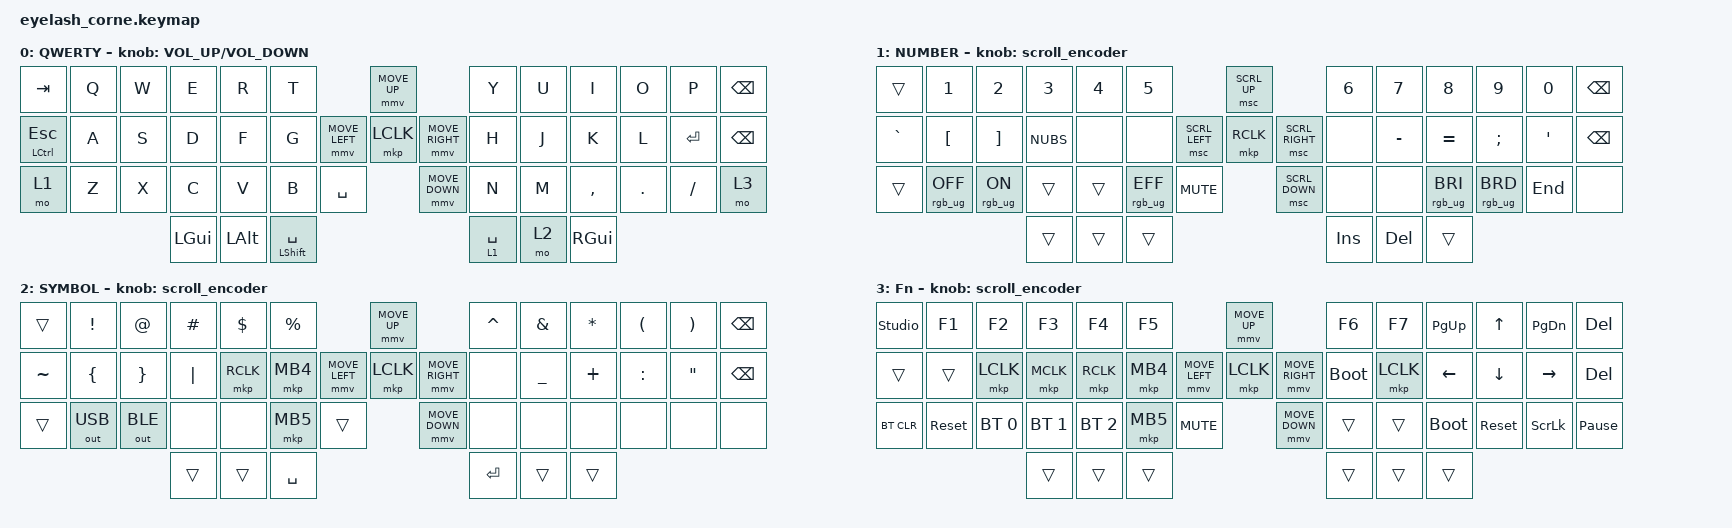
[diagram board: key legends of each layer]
#include <behaviors.dtsi>
#include <dt-bindings/zmk/bt.h>
#include <dt-bindings/zmk/keys.h>
#include <dt-bindings/zmk/mouse.h>
#include <dt-bindings/zmk/outputs.h>
#include <dt-bindings/zmk/rgb.h>

#include <input/processors.dtsi>

/*

   &mmv_input_listener {
       input-processors = <&zip_xy_scaler 2 1>;
   };

   &msc_input_listener {
       input-processors = <&zip_xy_scaler 2 1>;
   };

 */

#define ZMK_MOUSE_DEFAULT_MOVE_VAL 1200  // 600
#define ZMK_MOUSE_DEFAULT_SCRL_VAL 20    // 10

/ {
    behaviors {
        td0: td0 {
            compatible = "zmk,behavior-tap-dance";
            display-name = "Shift/Caps Lock Tap Dance";
            #binding-cells = <0>;
            bindings = <&kp LEFT_SHIFT>, <&kp CAPS>;
        };
    };

    rgb_encoder: rgb_encoder {
        compatible = "zmk,behavior-sensor-rotate";
        #sensor-binding-cells = <0>;
        bindings = <&rgb_ug RGB_BRI>, <&rgb_ug RGB_BRD>;
    };

    scroll_encoder: scroll_encoder {
        compatible = "zmk,behavior-sensor-rotate";
        #sensor-binding-cells = <0>;
        bindings = <&msc SCRL_DOWN>, <&msc SCRL_UP>;
        tap-ms = <30>;
    };

    keymap {
        compatible = "zmk,keymap";

        default_layer {
            display-name = "QWERTY";
            bindings = <
&kp TAB           &kp Q  &kp W      &kp E     &kp R  &kp T                              &mmv MOVE_UP                      &kp Y        &kp U  &kp I      &kp O    &kp P     &kp BSPC
&mt LCTRL ESC     &kp A  &kp S      &kp D     &kp F  &kp G                    &mmv MOVE_LEFT  &mkp LCLK   &mmv MOVE_RIGHT  &kp H        &kp J  &kp K      &kp L    &kp ENTER  &kp BSPC
&mo 1             &kp Z  &kp X      &kp C     &kp V  &kp B       &kp SPACE              &mmv MOVE_DOWN                    &kp N        &kp M  &kp COMMA  &kp DOT  &kp FSLH  &mo 3
                           &kp LGUI  &kp LALT  &mt LSHIFT SPACE                                              &lt 1 SPACE  &mo 2  &kp RGUI
            >;
            sensor-bindings = <&inc_dec_kp C_VOLUME_UP C_VOLUME_DOWN>;
        };

        lower_layer {
            display-name = "NUMBER";
            bindings = <
&trans     &kp N1           &kp N2          &kp N3        &kp N4        &kp N5                                        &msc SCRL_UP                       &kp N6           &kp N7           &kp N8          &kp N9        &kp N0    &kp BSPC  
&kp GRAVE  &kp LBKT         &kp RBKT        &kp NUBS      &none         &none                           &msc SCRL_LEFT  &mkp RCLK       &msc SCRL_RIGHT  &none            &kp MINUS        &kp EQUAL       &kp SEMI      &kp SQT   &kp BSPC
&trans     &rgb_ug RGB_OFF  &rgb_ug RGB_ON  &trans        &trans        &rgb_ug RGB_EFF &kp C_MUTE                    &msc SCRL_DOWN                     &none            &none   &rgb_ug RGB_BRI  &rgb_ug RGB_BRD  &kp END   &none
                                            &trans        &trans        &trans                                                                           &kp INS          &kp DEL          &trans
            >;
            sensor-bindings = <&scroll_encoder>;
        };

        raise_layer {
            display-name = "SYMBOL";
            bindings = <
&trans  &kp EXCL      &kp AT        &kp HASH   &kp DLLR   &kp PRCNT                           &mmv MOVE_UP                     &kp CARET  &kp AMPS   &kp ASTRK  &kp LPAR    &kp RPAR   &kp BSPC
&kp TILDE  &kp LBRC    &kp RBRC    &kp PIPE  &mkp RCLK  &mkp MB4            &mmv MOVE_LEFT  &mkp LCLK       &mmv MOVE_RIGHT  &none      &kp UNDER  &kp PLUS   &kp COLON  &kp DQT  &kp BSPC
&trans  &out OUT_USB  &out OUT_BLE  &none      &none      &mkp MB5  &trans                    &mmv MOVE_DOWN                   &none  &none   &none   &none  &none   &none
                                    &trans     &trans     &kp SPACE                                                            &kp RET    &trans     &trans
            >;
            sensor-bindings = <&scroll_encoder>;
        };

        layer_3 {
            display-name = "Fn";
            bindings = <
&studio_unlock   &kp F1      &kp F2      &kp F3       &kp F4     &kp F5                                  &mmv MOVE_UP            &kp F6       &kp F7     &kp PAGE_UP       &kp UP      &kp PAGE_DOWN          &kp DEL
&trans  &trans      &mkp LCLK   &mkp MCLK    &mkp RCLK  &mkp MB4                &mmv MOVE_LEFT  &mkp LCLK       &mmv MOVE_RIGHT  &bootloader  &mkp LCLK  &kp LEFT     &kp DOWN    &kp RIGHT        &kp DEL
&bt BT_CLR  &sys_reset  &bt BT_SEL 0   &bt BT_SEL 1  &bt BT_SEL 2     &mkp MB5  &kp C_MUTE                    &mmv MOVE_DOWN                   &trans       &trans     &bootloader  &sys_reset  &kp SCROLLLOCK   &kp PAUSE_BREAK
                                &trans      &trans      &trans                                                                   &trans       &trans     &trans
            >;
            sensor-bindings = <&scroll_encoder>;
        };
    };
};
